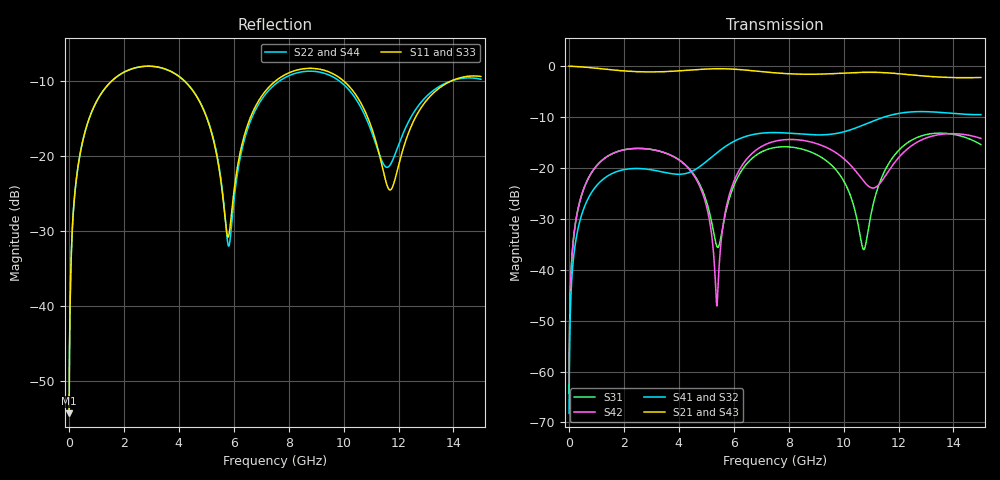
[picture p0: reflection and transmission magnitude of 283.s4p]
! Created with skrf 1.8.0 (http://scikit-rf.org).
# GHz S RI R 50.0
!freq ReS11 ImS11 ReS12 ImS12 ReS13 ImS13
! ReS14 ImS14
! ReS21 ImS21 ReS22 ImS22 ReS23 ImS23
! ReS24 ImS24
! ReS31 ImS31 ReS32 ImS32 ReS33 ImS33
! ReS34 ImS34
! ReS41 ImS41 ReS42 ImS42 ReS43 ImS43
! ReS44 ImS44
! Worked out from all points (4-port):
!   2499 points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, 5 MHz to 15 GHz, reference 50 ohm
!   strongest paths, dB at 5 MHz, 3.476 GHz, 7.19 GHz, 11.1 GHz, 15 GHz:
!     S21: 0.0, -1.1, -1.2, -1.2, -2.2
!     S43: 0.0, -1.1, -1.2, -1.2, -2.2
!     S41: -68.2, -20.9, -13.1, -10.7, -9.5
!     S32: -68.2, -20.9, -13.1, -10.7, -9.6
!     S42: -64.3, -17.0, -15.3, -23.9, -14.2
!     S31: -64.3, -17.0, -16.4, -26.7, -15.4
!   lowest |S11| = -54.2 dB at 5 MHz (marker M1), VSWR 1.00, Z = 50.2 + j0.118 ohm
!   |S11| at or under -10 dB: start of sweep to 1.575 GHz; 4.186 GHz to 7.543 GHz (3.358 GHz wide, 57.3 % of centre); 9.982 GHz to 13.96 GHz (3.976 GHz wide, 33.2 % of centre)
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0.005  0.00155 0.00118  0.9984 -0.00301  7.72e-05 0.000608  -7.5e-05 -0.000382
       0.9984 -0.00301  0.00155 0.00118  -7.5e-05 -0.000382  7.72e-05 0.000608
       7.72e-05 0.000608  -7.5e-05 -0.000382  0.00155 0.00118  0.9984 -0.00301
       -7.5e-05 -0.000382  7.72e-05 0.000608  0.9984 -0.00301  0.00155 0.00118
0.3126303  0.0218 0.0778  0.9703 -0.1878  0.0098 0.0363  -0.00819 -0.0226
           0.9703 -0.1878  0.0218 0.0778  -0.00819 -0.0226  0.00983 0.0363
           0.0098 0.0363  -0.00819 -0.0226  0.0218 0.0778  0.9703 -0.1878
           -0.00819 -0.0226  0.00983 0.0363  0.9703 -0.1878  0.0218 0.0778
1.519383  0.2464 0.1868  0.5998 -0.6986  0.1177 0.0672  -0.0855 -0.0143
          0.5998 -0.6986  0.2463 0.1869  -0.0855 -0.0144  0.1179 0.0669
          0.1177 0.0672  -0.0855 -0.0144  0.2465 0.1868  0.5998 -0.6986
          -0.0855 -0.0143  0.1179 0.0669  0.5998 -0.6986  0.2463 0.187
5.383493  0.0478 -0.088  -0.8972 -0.2876  -0.016 -0.00587  -0.038 0.1354
          -0.8972 -0.2876  0.046 -0.0918  -0.0391 0.1351  0.00441 -1.24e-05
          -0.016 -0.00587  -0.0391 0.1351  0.0467 -0.0884  -0.8972 -0.2874
          -0.038 0.1354  0.00441 -1.24e-05  -0.8972 -0.2874  0.0471 -0.0915
9.066278  0.3735 -0.0558  0.0321 0.8326  0.1197 -0.0577  0.2005 -0.0661
          0.0321 0.8326  0.3599 -0.0317  0.201 -0.064  0.1211 -0.1216
          0.1197 -0.0577  0.201 -0.064  0.3753 -0.053  0.0324 0.832
          0.2005 -0.0661  0.1211 -0.1216  0.0324 0.832  0.3608 -0.0348
10.73572  0.1359 -0.1543  0.6865 0.5321  -0.0149 -0.00506  0.156 -0.2146
          0.6865 0.5321  0.1475 -0.1227  0.1583 -0.2128  -0.0556 -0.0487
          -0.0149 -0.00506  0.1583 -0.2128  0.1404 -0.1536  0.6861 0.5319
          0.156 -0.2146  -0.0556 -0.0487  0.6861 0.5319  0.146 -0.1268
15  0.3323 -0.0515  0.0143 -0.7728  0.1338 -0.104  -0.3278 0.0617
    0.0143 -0.7728  0.3187 -0.0483  -0.3281 0.0554  0.1303 -0.1452
    0.1338 -0.104  -0.3281 0.0554  0.3343 -0.0508  0.0129 -0.7725
    -0.3278 0.0617  0.1303 -0.1452  0.0129 -0.7725  0.3177 -0.05
